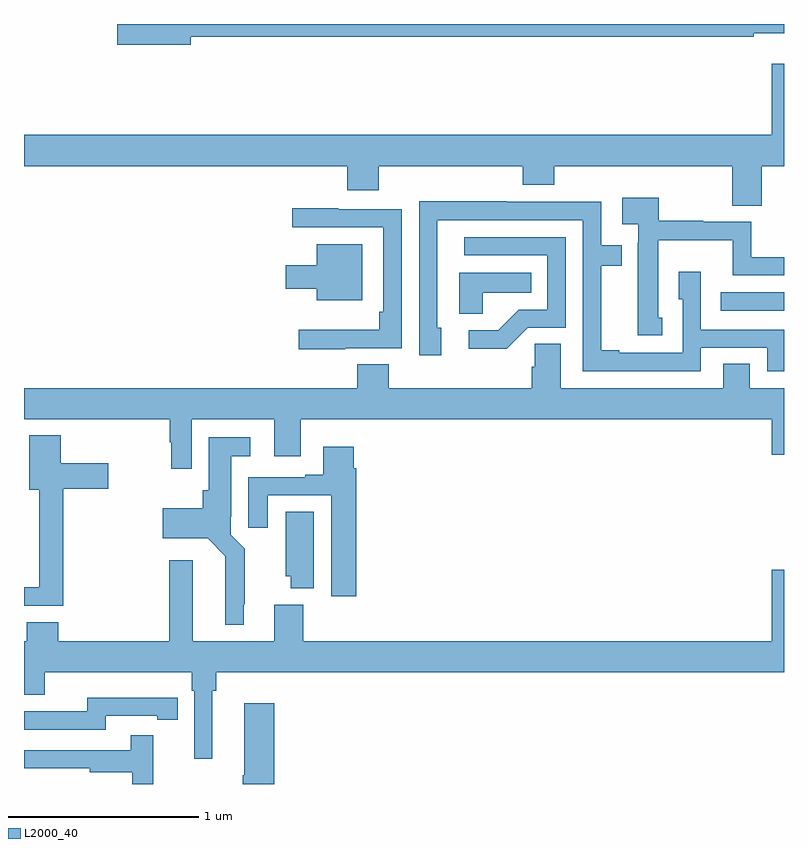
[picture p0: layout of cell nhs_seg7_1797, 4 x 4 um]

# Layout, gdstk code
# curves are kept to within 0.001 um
import gdstk
lib = gdstk.Library(unit=1e-6, precision=1e-09)
def R(c, l, rs):  # rectangles x0, y0, x1, y1
    for r in rs: c.add(gdstk.rectangle(r[:2], r[2:], *l))
def P(c, l, *ps):  # polygons
    for p in ps: c.add(gdstk.Polygon(p, *l))
L2000_40 = (2000, 40)

nhs_seg7_1797 = lib.new_cell('nhs_seg7_1797')
R(nhs_seg7_1797, L2000_40, [(236.667,1030.491,237,1030.587)])
P(nhs_seg7_1797, L2000_40, [(233.878,1031.932),(236.84,1031.932),(236.84,1031.951),(237,1031.951),(237,1032),(233.49,1032),(233.49,1031.89),(233.878,1031.89)],
  [(236.883,1031.252),(237,1031.252),(237,1031.791),(236.936,1031.791),(236.936,1031.416),(233,1031.416),(233,1031.252),(234.701,1031.252),(234.701,1031.124),(234.866,1031.124),(234.866,1031.252),(235.625,1031.252),(235.625,1031.153),(235.79,1031.153),(235.79,1031.252),(236.728,1031.252),(236.728,1031.044),(236.883,1031.044)],
  [(236.359,1030.455),(236.338,1030.455),(236.338,1030.862),(236.729,1030.862),(236.729,1030.677),(237,1030.677),(237,1030.773),(236.828,1030.773),(236.828,1030.959),(236.574,1030.959),(236.574,1030.964),(236.341,1030.964),(236.341,1031.086),(236.148,1031.086),(236.148,1030.946),(236.232,1030.946),(236.232,1030.85),(236.231,1030.85),(236.231,1030.362),(236.359,1030.362)],
  [(236.562,1030.296),(236.913,1030.296),(236.913,1030.173),(237,1030.173),(237,1030.392),(236.562,1030.392),(236.562,1030.696),(236.447,1030.696),(236.447,1030.551),(236.466,1030.551),(236.466,1030.269),(236.134,1030.269),(236.134,1030.282),(236.039,1030.282),(236.039,1030.728),(236.146,1030.728),(236.146,1030.836),(236.037,1030.836),(236.037,1031.064),(235.541,1031.064),(235.541,1031.066),(235.08,1031.066),(235.08,1030.257),(235.195,1030.257),(235.195,1030.401),(235.176,1030.401),(235.176,1030.968),(235.941,1030.968),(235.941,1030.173),(236.562,1030.173)],
  [(234.691,1030.293),(234.987,1030.293),(234.987,1031.025),(234.655,1031.025),(234.655,1031.029),(234.411,1031.029),(234.411,1030.929),(234.891,1030.929),(234.891,1030.486),(234.871,1030.486),(234.871,1030.39),(234.447,1030.39),(234.447,1030.289),(234.691,1030.289)],
  [(235.65,1030.401),(235.851,1030.401),(235.851,1030.878),(235.317,1030.878),(235.317,1030.782),(235.755,1030.782),(235.755,1030.497),(235.605,1030.497),(235.497,1030.389),(235.341,1030.389),(235.341,1030.292),(235.54,1030.292)],
  [(234.781,1030.84),(234.542,1030.84),(234.542,1030.729),(234.378,1030.729),(234.378,1030.607),(234.542,1030.607),(234.542,1030.547),(234.781,1030.547)],
  [(235.414,1030.586),(235.67,1030.586),(235.67,1030.69),(235.292,1030.69),(235.292,1030.474),(235.414,1030.474)],
  [(236.936,1029.732),(237,1029.732),(237,1030.084),(236.821,1030.084),(236.821,1030.211),(236.681,1030.211),(236.681,1030.084),(235.825,1030.084),(235.825,1030.316),(235.687,1030.316),(235.687,1030.196),(235.673,1030.196),(235.673,1030.084),(234.92,1030.084),(234.92,1030.208),(234.755,1030.208),(234.755,1030.084),(233,1030.084),(233,1029.92),(233.767,1029.92),(233.767,1029.798),(233.775,1029.798),(233.775,1029.66),(233.883,1029.66),(233.883,1029.92),(234.317,1029.92),(234.317,1029.726),(234.457,1029.726),(234.457,1029.92),(236.936,1029.92)],
  [(233.207,1029.554),(233.443,1029.554),(233.443,1029.688),(233.194,1029.688),(233.194,1029.835),(233.027,1029.835),(233.027,1029.548),(233.081,1029.548),(233.081,1029.036),(233,1029.036),(233,1028.939),(233.207,1028.939)],
  [(234.157,1028.947),(234.161,1028.947),(234.161,1029.238),(234.087,1029.312),(234.087,1029.406),(234.091,1029.406),(234.091,1029.725),(234.19,1029.725),(234.19,1029.826),(233.972,1029.826),(233.972,1029.546),(233.942,1029.546),(233.942,1029.451),(233.73,1029.451),(233.73,1029.293),(233.967,1029.293),(234.06,1029.2),(234.059,1028.837),(234.157,1028.837)],
  [(234.749,1029.662),(234.736,1029.662),(234.736,1029.775),(234.575,1029.775),(234.575,1029.628),(234.479,1029.628),(234.479,1029.615),(234.179,1029.615),(234.179,1029.348),(234.283,1029.348),(234.283,1029.519),(234.617,1029.519),(234.617,1028.988),(234.749,1028.988)],
  [(234.526,1029.434),(234.377,1029.434),(234.377,1029.093),(234.404,1029.093),(234.404,1029.029),(234.526,1029.029)],
  [(233.992,1028.492),(234.011,1028.492),(234.011,1028.588),(237,1028.588),(237,1029.127),(236.936,1029.127),(236.936,1028.752),(234.47,1028.752),(234.47,1028.944),(234.317,1028.944),(234.317,1028.752),(233.887,1028.752),(233.887,1029.178),(233.765,1029.178),(233.765,1028.752),(233.18,1028.752),(233.18,1028.851),(233.015,1028.851),(233.015,1028.752),(233,1028.752),(233,1028.471),(233.11,1028.471),(233.11,1028.588),(233.882,1028.588),(233.882,1028.492),(233.895,1028.492),(233.895,1028.132),(233.992,1028.132)],
  [(233.43,1028.358),(233.702,1028.358),(233.702,1028.338),(233.81,1028.338),(233.81,1028.454),(233.702,1028.454),(233.702,1028.455),(233.334,1028.455),(233.334,1028.382),(233,1028.382),(233,1028.286),(233.43,1028.286)],
  [(234.317,1028.425),(234.158,1028.425),(234.158,1028.045),(234.151,1028.045),(234.151,1028),(234.317,1028)],
  [(233.681,1028.257),(233.563,1028.257),(233.563,1028.178),(233,1028.178),(233,1028.082),(233.347,1028.082),(233.347,1028.062),(233.571,1028.062),(233.571,1028),(233.681,1028)])

lib.write_gds('nhs_seg7_1797.gds')
